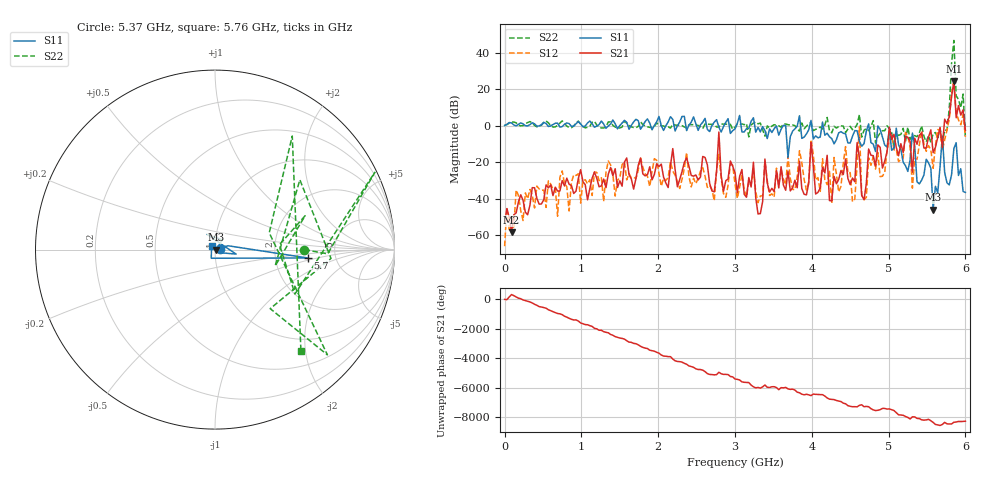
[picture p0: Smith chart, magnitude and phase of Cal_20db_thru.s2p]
#  HZ  S  DB  R  50.0
! Rohde & Schwarz ZVL13 2Ports - Version 3.20 - 1303.6509k13 SN: 100953
! Date: 2024-10-09 08:25:59
! Data & Calibration Information:
! Trc1:S11(TOSM) Trc4:S21(TOSM) Trc2:S12(TOSM) Trc3:S22(TOSM)
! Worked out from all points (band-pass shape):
!   201 points, 9 kHz to 6 GHz, reference 50 ohm
!   highest |S21| = 24.33 dB at 5.85 GHz (marker M1); lowest = -58.4 dB at 90.01 MHz (marker M2)
!   |S21| within 3 dB of the highest: 5.839274 GHz to 5.854512 GHz (15.24 MHz wide, 0.261 % of centre)
!   lowest |S11| = -46.1 dB at 5.58 GHz (marker M3), VSWR 1.01, Z = 50.5 - j0.0933 ohm
!   |S11| at or under -10 dB: 5.128 GHz to 5.298 GHz (169.7 MHz wide, 3.25 % of centre); 5.336 GHz to 5.692 GHz (356.8 MHz wide, 6.47 % of centre); 5.706 GHz to 5.874 GHz (167.4 MHz wide, 2.89 % of centre) (the widest 3 of 9)
!   |S22| runs from -12.3 to 46.7 dB; largest |S21 - S12| = 23
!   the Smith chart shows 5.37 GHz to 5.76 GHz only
!   S11 on the Smith chart (normalised r, x): 5.37 GHz: 1.06, +0.01; 5.7 GHz: 3.10, -0.40; 5.76 GHz: 0.96, +0.04
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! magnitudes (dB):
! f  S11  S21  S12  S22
! 9 kHz  0.1  -53.4  -66.0  0.2
! 90.01 MHz  1.5  -58.4  -56.0  1.9
! 1.02 GHz  -0.6  -30.7  -30.1  -0.4
! 2.01 GHz  5.0  -22.4  -26.1  0.5
! 3 GHz  -1.8  -25.7  -31.8  -0.9
! 3.24 GHz  4.3  -20.0  -24.0  1.4
! 3.3 GHz  -0.9  -48.4  -42.2  1.0
! 3.39 GHz  -2.7  -18.3  -19.2  -5.7
! 4.02 GHz  -7.3  -22.0  -16.0  -2.7
! 4.26 GHz  -7.1  -41.2  -42.5  -3.9
! 4.44 GHz  -4.4  -18.3  -11.5  -3.8
! 4.53 GHz  -5.8  -28.7  -41.7  -2.2
! 4.62 GHz  -8.6  -17.7  -0.7  6.1
! 4.68 GHz  -9.9  -40.5  -40.6  -2.5
! 5.01 GHz  -2.1  -0.8  -8.0  -1.5
! 5.31 GHz  -4.1  -25.5  -34.2  -5.5
! 5.37 GHz  -30.8  -10.2  -18.4  -6.0
! 5.58 GHz  -46.1  -14.8  -23.4  -4.3
! 5.7 GHz  -5.7  -12.0  -13.7  -10.0
! 5.76 GHz  -31.3  1.2  -2.5  -2.6
! 5.85 GHz  -12.5  24.3  24.7  46.7
! 6 GHz  -36.6  -2.5  -6.1  -6.4
